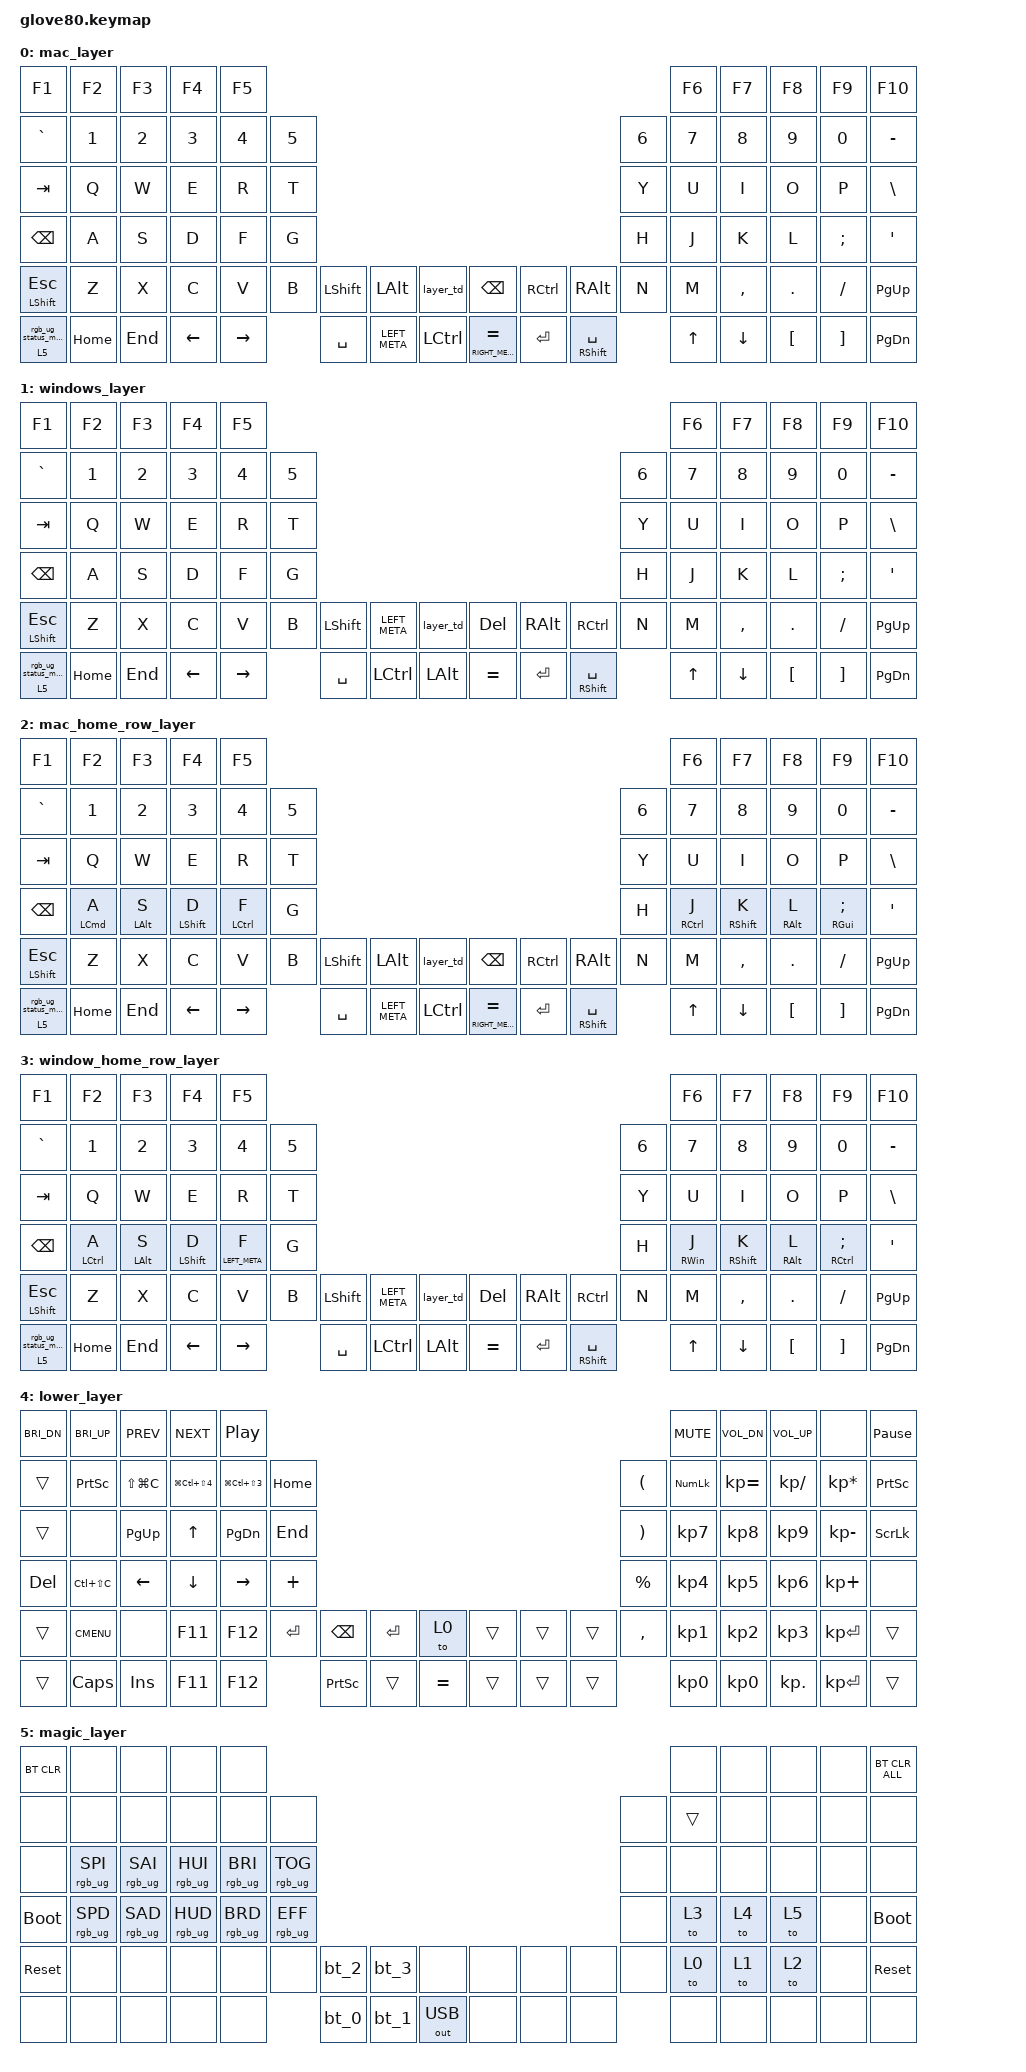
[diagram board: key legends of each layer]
/*
 * Copyright (c) 2020 The ZMK Contributors
 *
 * SPDX-License-Identifier: MIT
 */

#include <behaviors.dtsi>
#include <dt-bindings/zmk/bt.h>
#include <dt-bindings/zmk/keys.h>
#include <dt-bindings/zmk/outputs.h>
#include <dt-bindings/zmk/rgb.h>

#define HYPER LC(LS(LG(LALT)))

// layers

#define DEFAULT 0
#define LOWER 1
#define MAGIC 2
#define FACTORY_TEST 3

/ {
    behaviors {
        // For the "layer" key, it'd nice to be able to use it as either a shift or a toggle.
        // Configure it as a tap dance, so the first tap (or hold) is a &mo and the second tap is a &to

        layer_td: tap_dance_0 {
            compatible = "zmk,behavior-tap-dance";
            label = "LAYER_TAP_DANCE";
            #binding-cells = <0>;
            tapping-term-ms = <200>;
            bindings = <&mo 4>, <&to 4>;
        };

        magic: magic_hold_tap {
            compatible = "zmk,behavior-hold-tap";
            label = "MAGIC_HOLD_TAP";
            #binding-cells = <2>;
            flavor = "tap-preferred";
            tapping-term-ms = <200>;
            bindings = <&mo>, <&rgb_ug_status_macro>;
        };

        hold_tap_kp: hold_tap_kp {
            compatible = "zmk,behavior-hold-tap";
            label = "HOLD_TAP_KP";
            bindings = <&kp>, <&kp>;

            #binding-cells = <2>;
            tapping-term-ms = <200>;
            quick-tap-ms = <100>;
        };

        home_row_mod: home_row_mod {
            compatible = "zmk,behavior-hold-tap";
            label = "HOME_ROW_MOD";
            bindings = <&kp>, <&kp>;

            #binding-cells = <2>;
            tapping-term-ms = <325>;
            flavor = "tap-preferred";
        };
    };

    macros {
        rgb_ug_status_macro: rgb_ug_status_macro_0 {
            label = "RGB_UG_STATUS";
            compatible = "zmk,behavior-macro";
            #binding-cells = <0>;
            bindings = <&rgb_ug RGB_STATUS>;
        };

        bt_0: bt_profile_macro_0 {
            label = "BT_0";
            compatible = "zmk,behavior-macro";
            #binding-cells = <0>;
            bindings = <&out OUT_BLE &bt BT_SEL 0>;
        };

        bt_1: bt_profile_macro_1 {
            label = "BT_1";
            compatible = "zmk,behavior-macro";
            #binding-cells = <0>;
            bindings = <&out OUT_BLE &bt BT_SEL 1>;
        };

        bt_2: bt_profile_macro_2 {
            label = "BT_2";
            compatible = "zmk,behavior-macro";
            #binding-cells = <0>;
            bindings = <&out OUT_BLE &bt BT_SEL 2>;
        };

        bt_3: bt_profile_macro_3 {
            label = "BT_3";
            compatible = "zmk,behavior-macro";
            #binding-cells = <0>;
            bindings = <&out OUT_BLE &bt BT_SEL 3>;
        };
    };

    keymap {
        compatible = "zmk,keymap";

        mac_layer {
            // ---------------------------------------------------------------------------------------------------------------------------------
            // |  F1   |  F2 |  F3 |  F4  |  F5  |                                                               |  F6   |  F7   |  F8  |   F9  |  F10 |
            // |  =    |  1  |  2  |  3   |  4   |  5   |                                                 |  6   |   7   |   8   |  9   |   0   |   -  |
            // |  TAB  |  Q  |  W  |  E   |  R   |  T   |                                                 |  Y   |   U   |   I   |  O   |   P   |   \  |
            // |  ESC  |  A  |  S  |  D   |  F   |  G   |                                                 |  H   |   J   |   K   |  L   |   ;   |   '  |
            // |   `   |  Z  |  X  |  C   |  V   |  B   | LSHFT | LCTRL | LOWER | | LGUI  | RCTRL | RSHFT |  N   |   M   |   ,   |  .   |   /   | PGUP |
            // | MAGIC | HOME| END | LEFT | RIGHT|      | BSPC  | DEL   | LALT  | | RALT  | RET   | SPACE |      |  UP   | DOWN  |  [   |   ]   | PGDN |

            bindings = <
&kp F1                          &kp F2    &kp F3   &kp F4    &kp F5                                                                                                                                           &kp F6  &kp F7     &kp F8    &kp F9    &kp F10
&kp GRAVE                       &kp N1    &kp N2   &kp N3    &kp N4     &kp N5                                                                                                                        &kp N6  &kp N7  &kp N8     &kp N9    &kp N0    &kp MINUS
&kp TAB                         &kp Q     &kp W    &kp E     &kp R      &kp T                                                                                                                         &kp Y   &kp U   &kp I      &kp O     &kp P     &kp BSLH
&kp BACKSPACE                   &kp A     &kp S    &kp D     &kp F      &kp G                                                                                                                         &kp H   &kp J   &kp K      &kp L     &kp SEMI  &kp SQT
&hold_tap_kp LEFT_SHIFT ESCAPE  &kp Z     &kp X    &kp C     &kp V      &kp B   &kp LSHFT  &kp LEFT_ALT   &layer_td         &kp BACKSPACE                  &kp RCTRL  &kp RIGHT_ALT                   &kp N   &kp M   &kp COMMA  &kp DOT   &kp FSLH  &kp PG_UP
&magic 5 0                      &kp HOME  &kp END  &kp LEFT  &kp RIGHT          &kp SPACE  &kp LEFT_META  &kp LEFT_CONTROL  &hold_tap_kp RIGHT_META EQUAL  &kp ENTER  &hold_tap_kp RIGHT_SHIFT SPACE          &kp UP  &kp DOWN   &kp LBKT  &kp RBKT  &kp PG_DN
            >;
        };

        windows_layer {
            bindings = <
&kp F1                          &kp F2    &kp F3   &kp F4    &kp F5                                                                                                                        &kp F6  &kp F7     &kp F8    &kp F9    &kp F10
&kp GRAVE                       &kp N1    &kp N2   &kp N3    &kp N4     &kp N5                                                                                                     &kp N6  &kp N7  &kp N8     &kp N9    &kp N0    &kp MINUS
&kp TAB                         &kp Q     &kp W    &kp E     &kp R      &kp T                                                                                                      &kp Y   &kp U   &kp I      &kp O     &kp P     &kp BSLH
&kp BACKSPACE                   &kp A     &kp S    &kp D     &kp F      &kp G                                                                                                      &kp H   &kp J   &kp K      &kp L     &kp SEMI  &kp SQT
&hold_tap_kp LEFT_SHIFT ESCAPE  &kp Z     &kp X    &kp C     &kp V      &kp B   &kp LSHFT  &kp LEFT_META     &layer_td  &kp DELETE  &kp RIGHT_ALT  &kp RIGHT_CONTROL               &kp N   &kp M   &kp COMMA  &kp DOT   &kp FSLH  &kp PG_UP
&magic 5 0                      &kp HOME  &kp END  &kp LEFT  &kp RIGHT          &kp SPACE  &kp LEFT_CONTROL  &kp LALT   &kp EQUAL   &kp ENTER      &hold_tap_kp RIGHT_SHIFT SPACE          &kp UP  &kp DOWN   &kp LBKT  &kp RBKT  &kp PG_DN
            >;
        };

        mac_home_row_layer {
            bindings = <
&kp F1                          &kp F2                        &kp F3                    &kp F4                      &kp F5                                                                                                                                                              &kp F6                         &kp F7                       &kp F8                     &kp F9                             &kp F10
&kp GRAVE                       &kp N1                        &kp N2                    &kp N3                      &kp N4                        &kp N5                                                                                                                        &kp N6  &kp N7                         &kp N8                       &kp N9                     &kp N0                             &kp MINUS
&kp TAB                         &kp Q                         &kp W                     &kp E                       &kp R                         &kp T                                                                                                                         &kp Y   &kp U                          &kp I                        &kp O                      &kp P                              &kp BSLH
&kp BACKSPACE                   &home_row_mod LEFT_COMMAND A  &home_row_mod LEFT_ALT S  &home_row_mod LEFT_SHIFT D  &home_row_mod LEFT_CONTROL F  &kp G                                                                                                                         &kp H   &home_row_mod RIGHT_CONTROL J  &home_row_mod RIGHT_SHIFT K  &home_row_mod RIGHT_ALT L  &home_row_mod RIGHT_GUI SEMICOLON  &kp SQT
&hold_tap_kp LEFT_SHIFT ESCAPE  &kp Z                         &kp X                     &kp C                       &kp V                         &kp B   &kp LSHFT  &kp LEFT_ALT   &layer_td         &kp BACKSPACE                  &kp RCTRL  &kp RIGHT_ALT                   &kp N   &kp M                          &kp COMMA                    &kp DOT                    &kp FSLH                           &kp PG_UP
&magic 5 0                      &kp HOME                      &kp END                   &kp LEFT                    &kp RIGHT                             &kp SPACE  &kp LEFT_META  &kp LEFT_CONTROL  &hold_tap_kp RIGHT_META EQUAL  &kp ENTER  &hold_tap_kp RIGHT_SHIFT SPACE          &kp UP                         &kp DOWN                     &kp LBKT                   &kp RBKT                           &kp PG_DN
            >;
        };

        window_home_row_layer {
            bindings = <
&kp F1                          &kp F2                        &kp F3                    &kp F4                      &kp F5                                                                                                                                       &kp F6                     &kp F7                       &kp F8                     &kp F9                                 &kp F10
&kp GRAVE                       &kp N1                        &kp N2                    &kp N3                      &kp N4                     &kp N5                                                                                                    &kp N6  &kp N7                     &kp N8                       &kp N9                     &kp N0                                 &kp MINUS
&kp TAB                         &kp Q                         &kp W                     &kp E                       &kp R                      &kp T                                                                                                     &kp Y   &kp U                      &kp I                        &kp O                      &kp P                                  &kp BSLH
&kp BACKSPACE                   &home_row_mod LEFT_CONTROL A  &home_row_mod LEFT_ALT S  &home_row_mod LEFT_SHIFT D  &home_row_mod LEFT_META F  &kp G                                                                                                     &kp H   &home_row_mod RIGHT_WIN J  &home_row_mod RIGHT_SHIFT K  &home_row_mod RIGHT_ALT L  &home_row_mod RIGHT_CONTROL SEMICOLON  &kp SQT
&hold_tap_kp LEFT_SHIFT ESCAPE  &kp Z                         &kp X                     &kp C                       &kp V                      &kp B   &kp LSHFT  &kp LEFT_META     &layer_td  &kp DEL    &kp RIGHT_ALT  &kp RIGHT_CONTROL               &kp N   &kp M                      &kp COMMA                    &kp DOT                    &kp FSLH                               &kp PG_UP
&magic 5 0                      &kp HOME                      &kp END                   &kp LEFT                    &kp RIGHT                          &kp SPACE  &kp LEFT_CONTROL  &kp LALT   &kp EQUAL  &kp ENTER      &hold_tap_kp RIGHT_SHIFT SPACE          &kp UP                     &kp DOWN                     &kp LBKT                   &kp RBKT                               &kp PG_DN
            >;
        };

        lower_layer {
            bindings = <
&kp C_BRI_DN  &kp C_BRI_UP     &kp C_PREV     &kp C_NEXT                &kp C_PP                                                                                                       &kp C_MUTE  &kp C_VOL_DN  &kp C_VOL_UP   &none            &kp PAUSE_BREAK
&trans        &kp PRINTSCREEN  &kp LS(LG(C))  &kp LG(LC(LS(NUMBER_4)))  &kp LG(LC(LS(NUMBER_3)))  &kp HOME                                                                  &kp LPAR   &kp KP_NUM  &kp KP_EQUAL  &kp KP_DIVIDE  &kp KP_MULTIPLY  &kp PSCRN
&trans        &none            &kp PAGE_UP    &kp UP                    &kp PAGE_DOWN             &kp END                                                                   &kp RPAR   &kp KP_N7   &kp KP_N8     &kp KP_N9      &kp KP_MINUS     &kp SLCK
&kp DELETE    &kp LC(LS(C))    &kp LEFT       &kp DOWN                  &kp RIGHT                 &kp PLUS                                                                  &kp PRCNT  &kp KP_N4   &kp KP_N5     &kp KP_N6      &kp KP_PLUS      &none
&trans        &kp K_CMENU      &none          &kp F11                   &kp F12                   &kp ENTER  &kp BACKSPACE    &kp ENTER  &to 0      &trans  &trans  &trans  &kp COMMA  &kp KP_N1   &kp KP_N2     &kp KP_N3      &kp KP_ENTER     &trans
&trans        &kp CAPS         &kp INS        &kp F11                   &kp F12                              &kp PRINTSCREEN  &trans     &kp EQUAL  &trans  &trans  &trans             &kp KP_N0   &kp KP_N0     &kp KP_DOT     &kp KP_ENTER     &trans
            >;
        };

        magic_layer {
            bindings = <
&bt BT_CLR   &none            &none            &none            &none                                                                                     &none   &none  &none  &none  &bt BT_CLR_ALL
&none        &none            &none            &none            &none            &none                                                             &none  &trans  &none  &none  &none  &none
&none        &rgb_ug RGB_SPI  &rgb_ug RGB_SAI  &rgb_ug RGB_HUI  &rgb_ug RGB_BRI  &rgb_ug RGB_TOG                                                   &none  &none   &none  &none  &none  &none
&bootloader  &rgb_ug RGB_SPD  &rgb_ug RGB_SAD  &rgb_ug RGB_HUD  &rgb_ug RGB_BRD  &rgb_ug RGB_EFF                                                   &none  &to 3   &to 4  &to 5  &none  &bootloader
&sys_reset   &none            &none            &none            &none            &none            &bt_2  &bt_3  &none         &none  &none  &none  &none  &to 0   &to 1  &to 2  &none  &sys_reset
&none        &none            &none            &none            &none                             &bt_0  &bt_1  &out OUT_USB  &none  &none  &none         &none   &none  &none  &none  &none
            >;
        };
    };
};
